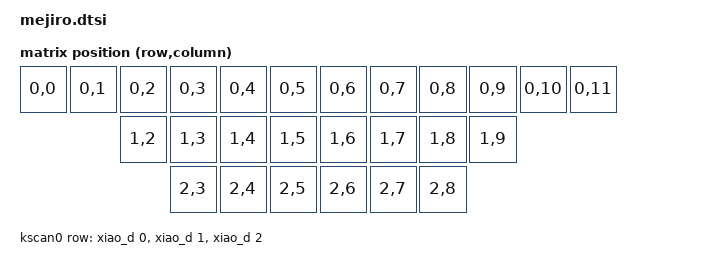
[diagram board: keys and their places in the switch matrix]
/*
 * Copyright (c) 2022 The ZMK Contributors
 *
 * SPDX-License-Identifier: MIT
 */

#include <dt-bindings/zmk/matrix_transform.h>

/ {
    chosen {
        zmk,kscan = &kscan0;
        zmk,matrix_transform = &default_transform;
    };

    default_transform: keymap_transform_0 {
        compatible = "zmk,matrix-transform";
        columns = <12>;
        rows = <3>;
//      | SW01 | SW02  | SW03  | SW05  | SW07  | SW09  |  | SW22  | SW20  | SW18  | SW16  | SW15  | SW14  |
//      |      |       | SW04  | SW06  | SW08  | SW10  |  | SW23  | SW21  | SW19  | SW17  |       |       |
//                             | SW12  | SW13  | SW11  |  | SW19  | SW18  | SW17  | 
        map = <
        RC(0,0) RC(0,1) RC(0,2) RC(0,3) RC(0,4) RC(0,5)    RC(0,6) RC(0,7) RC(0,8) RC(0,9) RC(0,10) RC(0,11)
                        RC(1,2) RC(1,3) RC(1,4) RC(1,5)    RC(1,6) RC(1,7) RC(1,8) RC(1,9) 
                                RC(2,3) RC(2,4) RC(2,5)    RC(2,6) RC(2,7) RC(2,8)         
        >;
    };


    kscan0: kscan_0 {
        compatible = "zmk,kscan-gpio-matrix";
        label = "KSCAN";
        
        diode-direction = "col2row"; 
        row-gpios
            = <&xiao_d 0 (GPIO_ACTIVE_HIGH | GPIO_PULL_DOWN)>   
            , <&xiao_d 1 (GPIO_ACTIVE_HIGH | GPIO_PULL_DOWN)>
            , <&xiao_d 2 (GPIO_ACTIVE_HIGH | GPIO_PULL_DOWN)>
            ;
    };
};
